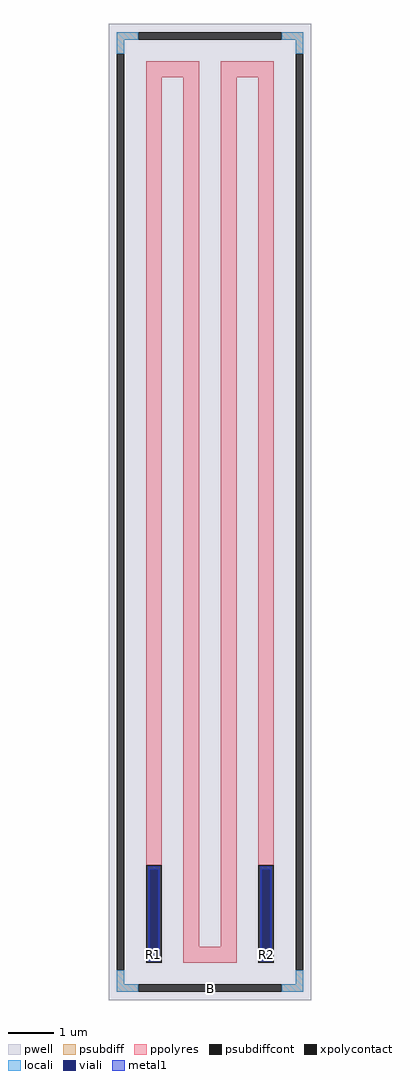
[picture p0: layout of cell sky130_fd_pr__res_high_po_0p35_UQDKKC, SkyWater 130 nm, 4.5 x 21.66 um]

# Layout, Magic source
magic
tech sky130A
magscale 1 2
<< pwell >>
rect -450 -2166 450 2166
<< psubdiff >>
rect -414 2096 -318 2130
rect 318 2096 414 2130
rect -414 2034 -380 2096
rect 380 2034 414 2096
rect -414 -2096 -380 -2034
rect 380 -2096 414 -2034
rect -414 -2130 -318 -2096
rect 318 -2130 414 -2096
<< psubdiffcont >>
rect -318 2096 318 2130
rect -414 -2034 -380 2034
rect 380 -2034 414 2034
rect -318 -2130 318 -2096
<< xpolycontact >>
rect -284 -2000 -214 -1568
rect 214 -2000 284 -1568
<< ppolyres >>
rect -284 1930 -48 2000
rect -284 -1568 -214 1930
rect -118 -1930 -48 1930
rect 48 1930 284 2000
rect 48 -1930 118 1930
rect -118 -2000 118 -1930
rect 214 -1568 284 1930
<< locali >>
rect -414 2096 -318 2130
rect 318 2096 414 2130
rect -414 2034 -380 2096
rect 380 2034 414 2096
rect -414 -2096 -380 -2034
rect 380 -2096 414 -2034
rect -414 -2130 -318 -2096
rect 318 -2130 414 -2096
<< viali >>
rect -268 -1982 -230 -1585
rect 230 -1982 268 -1585
<< metal1 >>
rect -274 -1585 -224 -1573
rect -274 -1982 -268 -1585
rect -230 -1982 -224 -1585
rect -274 -1994 -224 -1982
rect 224 -1585 274 -1573
rect 224 -1982 230 -1585
rect 268 -1982 274 -1585
rect 224 -1994 274 -1982
<< labels >>
rlabel psubdiffcont 0 -2113 0 -2113 0 B
port 1 nsew
rlabel xpolycontact -249 -1965 -249 -1965 0 R1
port 2 nsew
rlabel xpolycontact 249 -1965 249 -1965 0 R2
port 3 nsew
<< properties >>
string FIXED_BBOX -397 -2113 397 2113
string gencell sky130_fd_pr__res_high_po_0p35
string library sky130
string parameters w 0.35 l 20.0 m 1 nx 4 wmin 0.350 lmin 0.50 class resistor rho 319.8 val 75.169k dummy 0 dw 0.0 term 194.82 sterm 0.0 caplen 0 guard 1 glc 1 grc 1 gtc 1 gbc 1 compatible {sky130_fd_pr__res_high_po_0p35  sky130_fd_pr__res_high_po_0p69 sky130_fd_pr__res_high_po_1p41  sky130_fd_pr__res_high_po_2p85 sky130_fd_pr__res_high_po_5p73} snake 1 full_metal 1 wmax 0.350 vias 1 n_guard 0 hv_guard 0 viagb 0 viagt 0 viagl 0 viagr 0 doports 1
<< end >>
